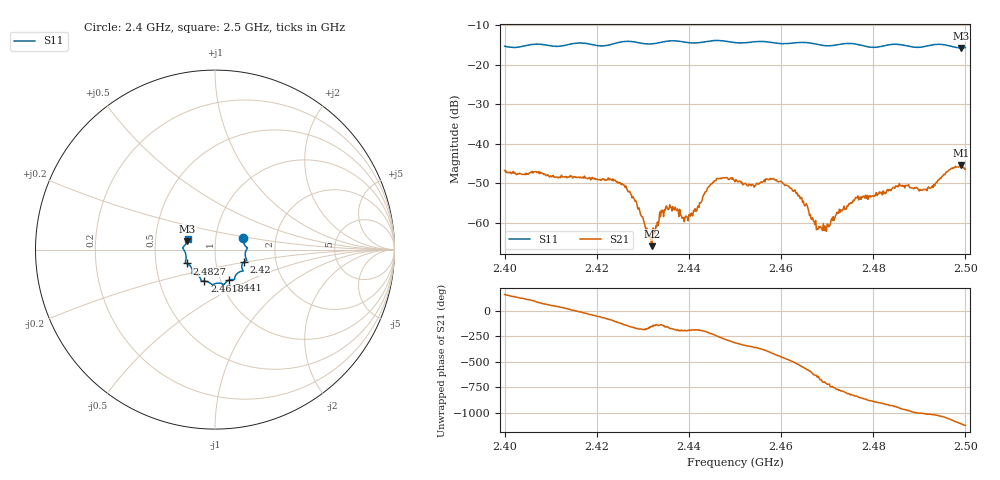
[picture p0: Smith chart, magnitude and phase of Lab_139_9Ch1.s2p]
# Hz S RI R 50
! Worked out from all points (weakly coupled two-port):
!   601 points, 2.4 GHz to 2.5 GHz, reference 50 ohm
!   highest |S21| = -45.49 dB at 2.499 GHz (marker M1); lowest = -65.9 dB at 2.432 GHz (marker M2)
!   lowest |S11| = -15.8 dB at 2.499 GHz (marker M3), VSWR 1.39, Z = 36.4 + j3.48 ohm
!   |S11| at or under -10 dB: start of sweep to end of sweep
!   S12 and S22 are empty: the file has one direction only
!   S11 on the Smith chart (normalised r, x): 2.4 GHz: 1.36, +0.18; 2.42 GHz: 1.36, -0.20; 2.441 GHz: 1.10, -0.39; 2.4618 GHz: 0.84, -0.30; 2.4827 GHz: 0.72, -0.12; 2.5 GHz: 0.73, +0.09
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2.4e9  0.1583 0.0627  -0.00425 0.00168  0 0  0 0
2.416667e9  0.1772 -0.0607  0.00358 -0.000908  0 0  0 0
2.42e9  0.1592 -0.0702  0.00213 -0.00281  0 0  0 0
2.426e9  0.1563 -0.1174  -0.00223 -0.00196  0 0  0 0
2.428333e9  0.1506 -0.1198  -0.00183 -0.000342  0 0  0 0
2.4315e9  0.1222 -0.1346  -0.000642 -0.000286  0 0  0 0
2.432e9  0.1182 -0.1391  -0.000434 -0.000259  0 0  0 0
2.433333e9  0.1116 -0.151  -0.000765 -0.000527  0 0  0 0
2.4355e9  0.1092 -0.1651  -0.00139 -0.000494  0 0  0 0
2.439333e9  0.0947 -0.1659  -0.00116 0.000343  0 0  0 0
2.441e9  0.0785 -0.1698  -0.00142 0.000215  0 0  0 0
2.445667e9  0.0508 -0.1947  -0.00177 0.0029  0 0  0 0
2.45e9  0.0284 -0.1872  0.00227 0.00239  0 0  0 0
2.461833e9  -0.0593 -0.1753  -0.00152 -0.00233  0 0  0 0
2.466667e9  -0.0783 -0.1682  -0.000404 0.00103  0 0  0 0
2.469333e9  -0.0896 -0.1487  0.000745 0.000281  0 0  0 0
2.476167e9  -0.1272 -0.1296  -0.000836 -0.00192  0 0  0 0
2.482667e9  -0.1559 -0.0774  -0.00225 0.000613  0 0  0 0
2.483333e9  -0.1604 -0.0755  -0.00237 0.000894  0 0  0 0
2.491167e9  -0.1687 -0.00955  0.000775 0.00251  0 0  0 0
2.499e9  -0.1551 0.0465  0.00481 -0.00225  0 0  0 0
2.5e9  -0.1521 0.0609  0.00354 -0.00317  0 0  0 0
